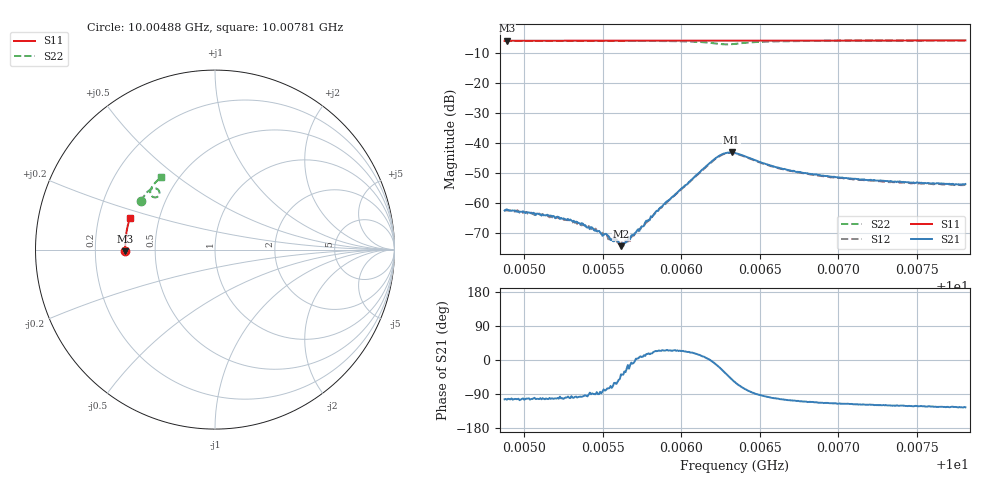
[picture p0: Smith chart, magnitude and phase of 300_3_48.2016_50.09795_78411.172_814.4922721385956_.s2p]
#  HZ  S  RI  R  50.00
! Rohde & Schwarz Vector Network Analyzer
! Rohde-Schwarz,ZNB20-2Port,1311601062101988,3.16
! Created: UTC 3/20/2024, 11:49:33 AM
! freq[Hz]  re:S11  im:S11  re:S21  im:S21  re:S12  im:S12  re:S22  im:S22
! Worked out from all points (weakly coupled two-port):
!   401 points, 10.00488 GHz to 10.00781 GHz, reference 50 ohm
!   highest |S21| = -43.28 dB at 10.00632 GHz (marker M1); lowest = -74.5 dB at 10.00562 GHz (marker M2)
!   lowest |S11| = -6.0 dB at 10.00489 GHz (marker M3), VSWR 2.99, Z = 16.7 - j0.409 ohm
!   |S11| at or under -10 dB: nowhere
!   |S22| runs from -7.2 to -6.0 dB; largest |S21 - S12| = 0.00042
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1.0004875e10  -0.4994 -0.01  -0.000176 -0.000717  -0.000131 -0.000749  -0.4134 0.2706
1.000489e10  -0.4992 -0.0092  -0.000195 -0.000748  -0.000151 -0.000738  -0.4129 0.2714
1.0005103e10  -0.4996 0.00472  -0.00012 -0.000631  -0.000101 -0.000614  -0.4051 0.2839
1.0005293e10  -0.4999 0.0171  -9.59e-05 -0.000513  -5.06e-05 -0.0005  -0.3976 0.2954
1.0005367e10  -0.4999 0.0218  -5.83e-05 -0.000452  -4.24e-05 -0.000416  -0.3944 0.2998
1.0005513e10  -0.4996 0.0314  4.88e-05 -0.000296  5.89e-05 -0.000296  -0.3878 0.3087
1.0005528e10  -0.4995 0.0322  7.35e-05 -0.000279  0.000105 -0.000262  -0.3871 0.3095
1.000555e10  -0.4995 0.0338  8.61e-05 -0.000222  8.31e-05 -0.000227  -0.386 0.311
1.0005587e10  -0.4995 0.0361  0.00011 -0.000218  0.000129 -0.000198  -0.3842 0.3133
1.0005616e10  -0.4993 0.038  0.000148 -0.000116  0.000152 -0.000152  -0.3825 0.315
1.0005631e10  -0.4993 0.0389  0.000165 -0.000131  0.000161 -9.72e-05  -0.3817 0.316
1.0005668e10  -0.4993 0.0412  0.000244 -0.000103  0.000225 -6.57e-05  -0.3798 0.3183
1.0005748e10  -0.4991 0.0466  0.000394 5.47e-05  0.000396 7.63e-05  -0.3749 0.3235
1.0005858e10  -0.4984 0.0537  0.000706 0.000332  0.000694 0.000339  -0.3668 0.3307
1.0006211e10  -0.4956 0.0764  0.00523 -0.00072  0.00516 -0.000492  -0.3122 0.3277
1.0006269e10  -0.4952 0.0798  0.0057 -0.00322  0.00574 -0.00289  -0.311 0.3059
1.0006321e10  -0.4948 0.0828  0.00437 -0.00529  0.00454 -0.00498  -0.326 0.292
1.0006343e10  -0.4945 0.0843  0.00351 -0.00571  0.00372 -0.00543  -0.334 0.2906
1.0006599e10  -0.4924 0.1006  -0.000736 -0.00387  -0.000601 -0.00381  -0.3596 0.3301
1.0006834e10  -0.4898 0.1156  -0.00105 -0.00279  -0.000941 -0.00275  -0.3495 0.3519
1.0007326e10  -0.4826 0.1465  -0.00113 -0.00198  -0.001 -0.00196  -0.3249 0.3812
1.000781e10  -0.4735 0.1764  -0.00117 -0.00167  -0.00107 -0.00165  -0.3003 0.4038
